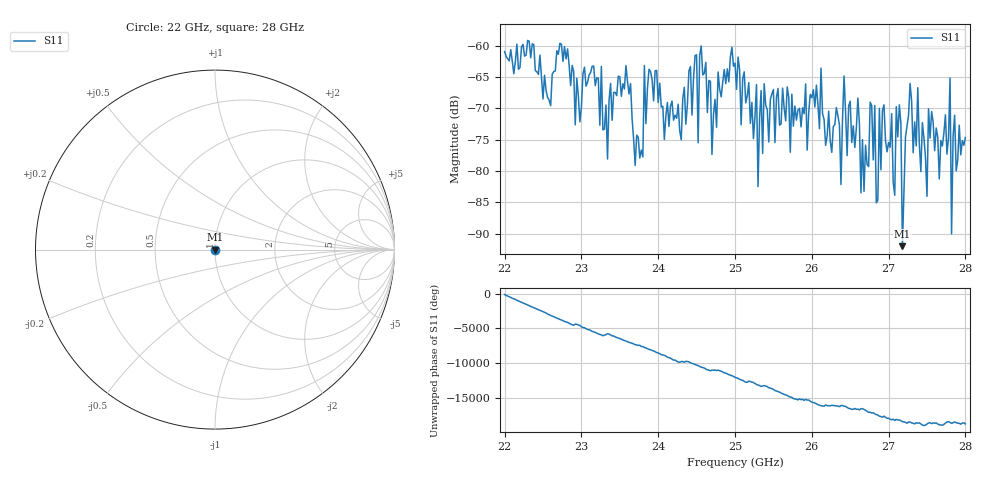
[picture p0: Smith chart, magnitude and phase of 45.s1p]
#  HZ  S  RI  R  50.00
! Rohde & Schwarz ZVA40 4Ports - Version 3.90 - 1145.1110k42 SN: 100403
! Date: 2023-10-04 09:21:57
! Measurement: S12
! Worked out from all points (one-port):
!   301 points, 22 GHz to 28 GHz, reference 50 ohm
!   lowest |S11| = -92.0 dB at 27.18 GHz (marker M1), VSWR 1.00, Z = 50 - j0.00195 ohm
!   |S11| at or under -10 dB: start of sweep to end of sweep
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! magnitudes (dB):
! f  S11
! 22 GHz  -60.9
! 22.76 GHz  -62.5
! 23.26 GHz  -63.3
! 23.34 GHz  -78.1
! 23.5 GHz  -65.0
! 23.7 GHz  -79.1
! 23.8 GHz  -77.8
! 23.82 GHz  -63.2
! 24.26 GHz  -69.3
! 24.5 GHz  -61.4
! 24.52 GHz  -75.5
! 24.56 GHz  -60.0
! 24.7 GHz  -77.4
! 25 GHz  -62.8
! 25.28 GHz  -66.2
! 25.3 GHz  -82.5
! 25.38 GHz  -66.1
! 25.76 GHz  -72.8
! 26.12 GHz  -63.6
! 26.38 GHz  -82.2
! 26.42 GHz  -64.8
! 26.46 GHz  -77.5
! 26.5 GHz  -68.9
! 26.64 GHz  -83.5
! 27.14 GHz  -69.4
! 27.18 GHz  -92.0
! 27.26 GHz  -71.1
! 28 GHz  -74.7
